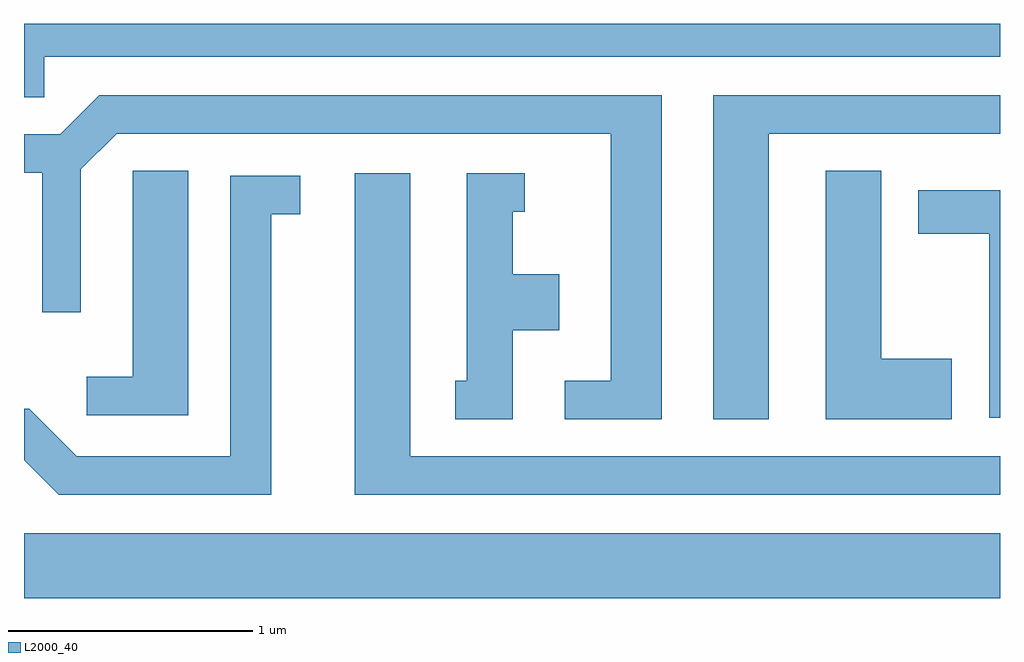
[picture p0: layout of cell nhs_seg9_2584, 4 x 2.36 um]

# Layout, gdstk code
import gdstk
lib = gdstk.Library(unit=1e-6, precision=1e-09)
def R(c, l, rs):  # rectangles x0, y0, x1, y1
    for r in rs: c.add(gdstk.rectangle(r[:2], r[2:], *l))
def P(c, l, *ps):  # polygons
    for p in ps: c.add(gdstk.Polygon(p, *l))
L2000_40 = (2000, 40)

nhs_seg9_2584 = lib.new_cell('nhs_seg9_2584')
R(nhs_seg9_2584, L2000_40, [(261.611,1954.076,265.611,1954.344)])
P(nhs_seg9_2584, L2000_40, [(261.694,1956.296),(265.611,1956.296),(265.611,1956.432),(261.611,1956.432),(261.611,1956.131),(261.694,1956.131)],
  [(264.664,1955.981),(265.611,1955.981),(265.611,1956.139),(264.436,1956.139),(264.436,1954.811),(264.664,1954.811)],
  [(264.224,1956.139),(261.919,1956.139),(261.759,1955.979),(261.611,1955.979),(261.611,1955.821),(261.686,1955.821),(261.686,1955.248),(261.844,1955.248),(261.844,1955.834),(261.992,1955.981),(264.016,1955.981),(264.016,1954.969),(263.828,1954.969),(263.828,1954.811),(264.224,1954.811)],
  [(262.284,1955.829),(262.056,1955.829),(262.056,1954.984),(261.868,1954.984),(261.868,1954.826),(262.284,1954.826)],
  [(265.414,1955.059),(265.124,1955.059),(265.124,1955.829),(264.896,1955.829),(264.896,1954.811),(265.414,1954.811)],
  [(265.611,1954.659),(263.194,1954.659),(263.194,1955.819),(262.966,1955.819),(262.966,1954.501),(265.611,1954.501)],
  [(263.614,1955.176),(263.804,1955.176),(263.804,1955.404),(263.614,1955.404),(263.614,1955.661),(263.663,1955.661),(263.663,1955.819),(263.426,1955.819),(263.426,1954.969),(263.378,1954.969),(263.378,1954.811),(263.614,1954.811)],
  [(262.624,1955.651),(262.743,1955.651),(262.743,1955.809),(262.456,1955.809),(262.456,1954.659),(261.827,1954.659),(261.632,1954.854),(261.611,1954.854),(261.611,1954.643),(261.754,1954.501),(262.624,1954.501)],
  [(265.611,1955.749),(265.276,1955.749),(265.276,1955.571),(265.566,1955.571),(265.566,1954.816),(265.611,1954.816)])

lib.write_gds('nhs_seg9_2584.gds')
